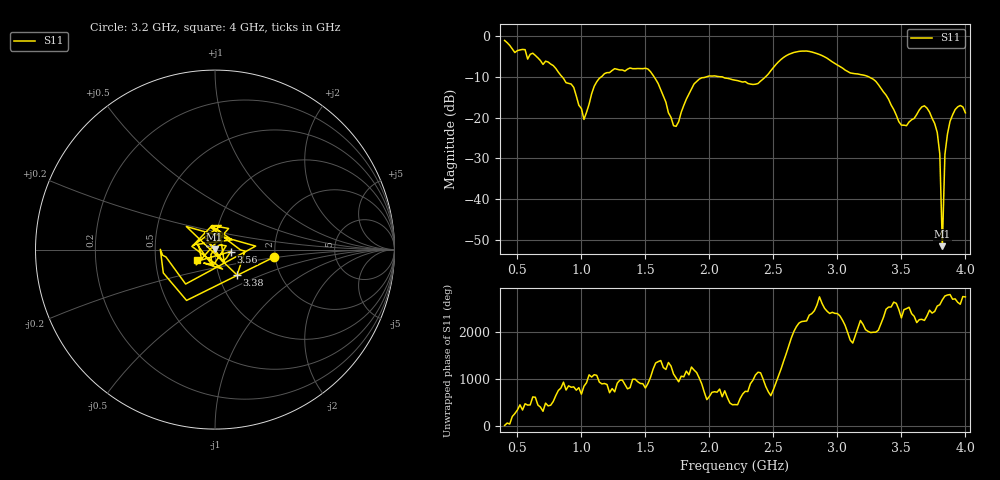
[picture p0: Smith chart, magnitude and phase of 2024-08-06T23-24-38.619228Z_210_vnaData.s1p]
!Created with skrf (http://scikit-rf.org).
# Hz S RI R 50.0
!freq ReS11 ImS11
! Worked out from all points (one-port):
!   181 points, 400 MHz to 4 GHz, reference 50 ohm
!   lowest |S11| = -51.4 dB at 3.82 GHz (marker M1), VSWR 1.01, Z = 49.8 + j0.134 ohm
!   |S11| at or under -10 dB: 1.566 GHz to 1.985 GHz (418.6 MHz wide, 23.6 % of centre); 2.069 GHz to 2.441 GHz (371.8 MHz wide, 16.5 % of centre); 3.239 GHz to end of sweep (the widest 3 of 4)
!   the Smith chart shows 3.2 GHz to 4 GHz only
!   S11 on the Smith chart (normalised r, x): 3.2 GHz: 1.96, -0.19; 3.38 GHz: 1.22, -0.36; 3.56 GHz: 1.19, -0.03; 4 GHz: 0.82, -0.10
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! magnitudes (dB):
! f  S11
! 400 MHz  -1.2
! 860 MHz  -10.5
! 940 MHz  -12.7
! 1.02 GHz  -20.5
! 1.12 GHz  -11.3
! 1.3 GHz  -8.4
! 1.52 GHz  -8.2
! 1.6 GHz  -11.7
! 1.72 GHz  -22.0
! 1.76 GHz  -21.0
! 1.92 GHz  -10.6
! 2.2 GHz  -10.9
! 2.38 GHz  -11.7
! 2.66 GHz  -4.1
! 2.86 GHz  -4.6
! 3.1 GHz  -9.1
! 3.2 GHz  -9.6
! 3.38 GHz  -14.5
! 3.5 GHz  -21.9
! 3.56 GHz  -21.1
! 3.68 GHz  -17.2
! 3.78 GHz  -23.6
! 3.8 GHz  -28.9
! 3.82 GHz  -51.4
! 3.84 GHz  -29.0
! 3.86 GHz  -24.0
! 3.92 GHz  -18.1
! 4 GHz  -18.9
